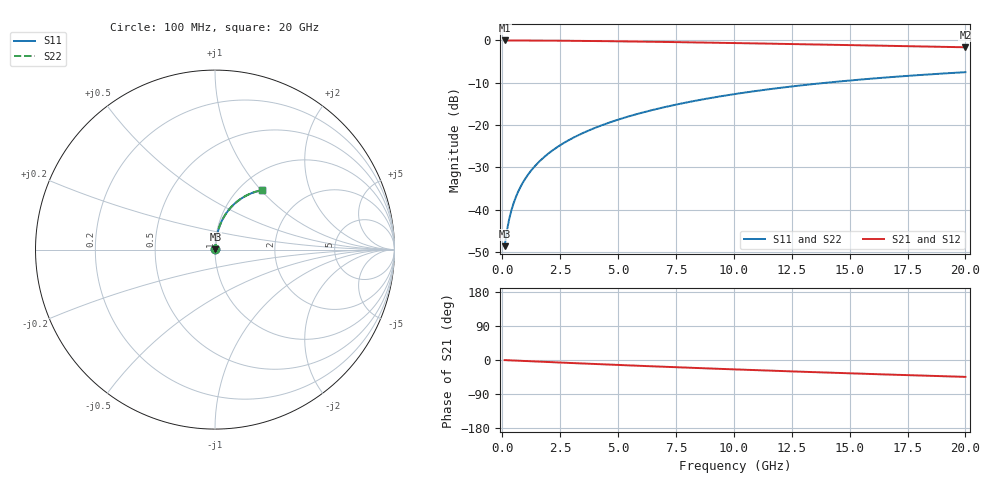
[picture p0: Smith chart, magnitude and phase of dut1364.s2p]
! Touchstone file exported from HFSS 2024.1.0
!  File:  C:/UserFiles/LocalFiles/RDL_TSV_Batchsim/temp_RDL_bottom_1364_1780370883.aedt
!  Generated:  11:30:26 AM Jun  2, 2026
!  Design:  RDL_bottom
!  Project:  temp_RDL_bottom_1364_1780370883
!  Setup:  Setup1
!  Solution:  Sweep
! Variables:
!  dtsv = 10.80580581um
!  hbump = 3um
!  htsv = 69.5um
!  ldown = 628.46um
!  lrdl = 100um
!  p = 40
!  p1 = 50.57um
!  rhole = 1um
!  t = 450um
!  tdown = 4.61um
!  trdl = 3.915915916um
!  wdown = 18.44um
!  wrdl = 20um
# GHz S MA R 50.000000
! Terminal data exported
! Port[1] = RDL1_T1
! Port[2] = RDL1_T2
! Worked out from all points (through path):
!   200 points, 100 MHz to 20 GHz, reference 50 ohm
!   highest |S21| = -0.02 dB at 100 MHz (marker M1); lowest = -1.6 dB at 20 GHz (marker M2)
!   group delay of S21, straight-line fit = 6.15 ps
!   lowest |S11| = -48.7 dB at 100 MHz (marker M3), VSWR 1.01, Z = 50.3 + j0.247 ohm
!   |S11| at or under -10 dB: start of sweep to 14.03 GHz
!   |S22| runs from -48.7 to -7.5 dB; largest |S21 - S12| = 2.1e-15
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0.1  0.003686 41.7  0.9972 -0.3  0.9972 -0.3  0.003686 41.7
! Gamma 0 0 0 0
! Port Impedance 50 0 50 0
0.2  0.005631 59.2  0.9971 -0.6  0.9971 -0.6  0.005631 59.2
0.3  0.007762 67.0  0.9969 -0.8  0.9969 -0.8  0.007762 67.0
0.4  0.009937 71.5  0.9968 -1.1  0.9968 -1.1  0.009937 71.5
0.5  0.01213 74.4  0.9966 -1.4  0.9966 -1.4  0.01213 74.4
0.6  0.01435 76.4  0.9965 -1.6  0.9965 -1.6  0.01435 76.4
0.8  0.01882 78.9  0.9961 -2.2  0.9961 -2.2  0.01882 78.9
1.1  0.02559 81.0  0.9955 -3.0  0.9955 -3.0  0.02559 81.0
1.5  0.03469 82.2  0.9944 -4.0  0.9944 -4.0  0.03469 82.2
1.8  0.04154 82.6  0.9934 -4.8  0.9934 -4.8  0.04154 82.6
2.1  0.04841 82.8  0.9923 -5.6  0.9923 -5.6  0.0484 82.7
2.7  0.06218 82.6  0.9895 -7.2  0.9895 -7.2  0.06218 82.6
3.5  0.08063 82.0  0.985 -9.3  0.985 -9.3  0.08062 82.0
4.2  0.09685 81.2  0.9804 -11.1  0.9804 -11.1  0.09684 81.2
5  0.1155 80.1  0.9746 -13.1  0.9746 -13.1  0.1154 80.1
5.9  0.1365 78.7  0.9674 -15.3  0.9674 -15.3  0.1364 78.7
6.8  0.1575 77.2  0.9597 -17.4  0.9597 -17.4  0.1574 77.2
8.4  0.1946 74.3  0.9451 -21.1  0.9451 -21.1  0.1945 74.3
10.1  0.2332 71.0  0.9287 -24.9  0.9287 -24.9  0.2331 71.0
13.4  0.3036 64.4  0.8955 -31.9  0.8955 -31.9  0.3035 64.4
16.7  0.3663 58.0  0.8616 -38.4  0.8616 -38.4  0.3662 58.0
20  0.4205 51.9  0.8282 -44.5  0.8282 -44.5  0.4203 51.9
